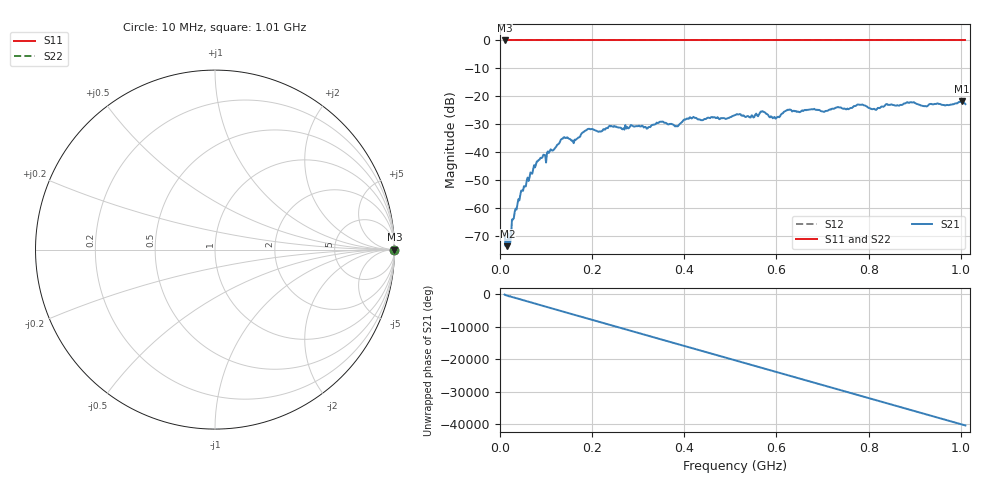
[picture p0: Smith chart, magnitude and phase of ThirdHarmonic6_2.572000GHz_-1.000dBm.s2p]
! 8/17/2025 5:23:34 AM
! C:\ANRITSUVNA\TEMP\TEMP.S2P
! CHANNEL.1
! TR.MEASUREMENT
! RAW.DATA
! RF.CORRECTION.OFF
! AVERAGING.OFF
! IF.BANDWIDTH: 5KHZ
! SWEEPTYPE:  FREQ.SWEEP(Linear)
! Reference Plane Port Info
! PORT:  PORT1  PORT2
! DISTANCE:  0  m  0  m
! TIME:  0  s  0  s
! PHASE.OFFSET:  0  deg.  0  deg.
! LOSS:  0  dB  0  dB
! REF.LOSS:  0  dB  0  dB
! REF.FREQ:  0  Hz  0  Hz
! Power Info
! POWER:  -20  dBm  -20  dBm
! EFF.POWER:  -20  dBm  -20  dBm
! SOURCE.ATTEN:  0  dB  0  dB
! TEST.ATTEN:  0  dB  0  dB
# GHZ S RI R 50.0
! FREQ.GHZ  S11RE  S11IM  S21RE  S21IM  S12RE  S12IM  S22RE  S22IM
!; PortSelection: Port_12
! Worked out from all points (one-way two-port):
!   501 points, 10 MHz to 1.01 GHz, reference 50 ohm
!   highest |S21| = -21.90 dB at 1.002 GHz (marker M1); lowest = -73.8 dB at 16 MHz (marker M2)
!   lowest |S11| = 0.0 dB at 10 MHz (marker M3)
!   |S11| at or under -10 dB: nowhere
!   |S22| runs from 0.0 to 0.0 dB; largest |S21 - S12| = 1.1
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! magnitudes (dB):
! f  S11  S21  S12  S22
! 10 MHz  0.0  -69.3  0.0  0.0
! 16 MHz  0.0  -73.8  0.0  0.0
! 20 MHz  0.0  -72.8  0.0  0.0
! 30 MHz  0.0  -63.7  0.0  0.0
! 44 MHz  0.0  -55.5  0.0  0.0
! 78 MHz  0.0  -44.5  0.0  0.0
! 136 MHz  0.0  -35.3  0.0  0.0
! 160 MHz  0.0  -36.9  0.0  0.0
! 178 MHz  0.0  -33.2  0.0  0.0
! 344 MHz  0.0  -29.6  0.0  0.0
! 384 MHz  0.0  -30.8  0.0  0.0
! 416 MHz  0.0  -28.0  0.0  0.0
! 510 MHz  0.0  -26.8  0.0  0.0
! 570 MHz  0.0  -25.4  0.0  0.0
! 596 MHz  0.0  -27.5  0.0  0.0
! 626 MHz  0.0  -24.9  0.0  0.0
! 678 MHz  0.0  -24.7  0.0  0.0
! 782 MHz  0.0  -23.1  0.0  0.0
! 814 MHz  0.0  -24.8  0.0  0.0
! 844 MHz  0.0  -23.1  0.0  0.0
! 1.002 GHz  0.0  -21.9  0.0  0.0
! 1.01 GHz  0.0  -22.8  0.0  0.0
